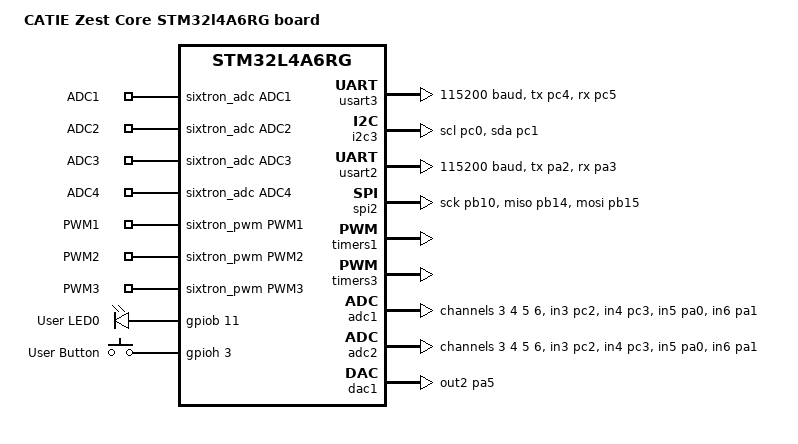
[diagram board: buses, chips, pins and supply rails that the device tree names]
/*
 * Copyright (c) 2023 CATIE
 *
 * SPDX-License-Identifier: Apache-2.0
 */

/dts-v1/;
#include <st/l4/stm32l4a6Xg.dtsi>
#include <st/l4/stm32l4a6rgtx-pinctrl.dtsi>
#include <zephyr/dt-bindings/input/input-event-codes.h>
#include "sixtron_connector.dtsi"

/ {
	model = "CATIE Zest Core STM32l4A6RG board";
	compatible = "catie,zest-core-stm32l4a6rg";

	chosen {
		zephyr,console = &usart3;
		zephyr,shell-uart = &usart3;
		zephyr,sram = &sram0;
		zephyr,flash = &flash0;
	};

	zephyr,user {
		pwms = <&sixtron_pwm PWM1 1000000 PWM_POLARITY_NORMAL>,
			   <&sixtron_pwm PWM2 1000000 PWM_POLARITY_NORMAL>,
			   <&sixtron_pwm PWM3 1000000 PWM_POLARITY_NORMAL>;
		pwm-names = "PWM1", "PWM2", "PWM3";

		io-channels = <&sixtron_adc ADC1>,
					  <&sixtron_adc ADC2>,
					  <&sixtron_adc ADC3>,
					  <&sixtron_adc ADC4>;
		io-channel-names = "ADC1", "ADC2", "ADC3", "ADC4";
	};

	leds {
		compatible = "gpio-leds";
		led_0: led_0 {
			gpios = <&gpiob 11 GPIO_ACTIVE_HIGH>;
			label = "User LED0";
		};
	};

	gpio_keys {
		compatible = "gpio-keys";
		user_button: button {
			label = "User Button";
			gpios = <&gpioh 3 GPIO_ACTIVE_HIGH>;
			zephyr,code = <INPUT_BTN_0>;
		};
	};

	aliases {
		led0 = &led_0;
		sw0 = &user_button;
	};
};

&clk_hsi {
	status = "okay";
};

&pll {
	div-m = <1>;
	mul-n = <10>;
	div-p = <7>;
	div-q = <2>;
	div-r = <2>;
	clocks = <&clk_hsi>;
	status = "okay";
};

&rcc {
	clocks = <&pll>;
	clock-frequency = <DT_FREQ_M(80)>;
	ahb-prescaler = <1>;
	apb1-prescaler = <1>;
	apb2-prescaler = <1>;
};

&usart3 {
	pinctrl-0 = <&usart3_tx_pc4 &usart3_rx_pc5>;
	pinctrl-names = "default";
	current-speed = <115200>;
	status = "okay";
};

&i2c3 {
	pinctrl-0 = <&i2c3_scl_pc0 &i2c3_sda_pc1>;
	pinctrl-names = "default";
	status = "okay";
};

&usart2 {
	pinctrl-0 = <&usart2_tx_pa2 &usart2_rx_pa3>;
	pinctrl-names = "default";
	current-speed = <115200>;
	status = "okay";
};

&spi2 {
	pinctrl-0 = <&spi2_sck_pb10 &spi2_miso_pb14 &spi2_mosi_pb15>;
	pinctrl-names = "default";
	cs-gpios = <&gpiob 2 GPIO_ACTIVE_LOW>;
	status = "okay";
};

&timers1 {
	st,prescaler = <1>;
	status = "okay";

	pwm1: pwm {
		pinctrl-0 = <&tim1_ch3_pa10 &tim1_ch2_pa9>;
		pinctrl-names = "default";
		status = "okay";
	};
};

&timers3 {
	st,prescaler = <1>;
	status = "okay";

	pwm3: pwm {
		pinctrl-0 = <&tim3_ch3_pb0 &tim3_ch4_pb1>;
		pinctrl-names = "default";
		status = "okay";
	};
};

&adc1 {
	pinctrl-0 = <&adc1_in3_pc2 &adc1_in4_pc3 &adc1_in5_pa0 &adc1_in6_pa1>;
	pinctrl-names = "default";
	st,adc-clock-source = "SYNC";
	st,adc-prescaler = <4>;
	status = "okay";

	#address-cells = <1>;
	#size-cells = <0>;

	channel@3 {
		reg = <3>;
		zephyr,gain = "ADC_GAIN_1";
		zephyr,reference = "ADC_REF_INTERNAL";
		zephyr,acquisition-time = <ADC_ACQ_TIME_DEFAULT>;
		zephyr,resolution = <12>;
	};

	channel@4 {
		reg = <4>;
		zephyr,gain = "ADC_GAIN_1";
		zephyr,reference = "ADC_REF_INTERNAL";
		zephyr,acquisition-time = <ADC_ACQ_TIME_DEFAULT>;
		zephyr,resolution = <12>;
	};

	channel@5 {
		reg = <5>;
		zephyr,gain = "ADC_GAIN_1";
		zephyr,reference = "ADC_REF_INTERNAL";
		zephyr,acquisition-time = <ADC_ACQ_TIME_DEFAULT>;
		zephyr,resolution = <12>;
	};

	channel@6 {
		reg = <6>;
		zephyr,gain = "ADC_GAIN_1";
		zephyr,reference = "ADC_REF_INTERNAL";
		zephyr,acquisition-time = <ADC_ACQ_TIME_DEFAULT>;
		zephyr,resolution = <12>;
	};
};

&adc2 {
	pinctrl-0 = <&adc2_in3_pc2 &adc2_in4_pc3 &adc2_in5_pa0 &adc2_in6_pa1>;
	pinctrl-names = "default";
	st,adc-clock-source = "SYNC";
	st,adc-prescaler = <4>;
	status = "okay";

	#address-cells = <1>;
	#size-cells = <0>;

	channel@3 {
		reg = <3>;
		zephyr,gain = "ADC_GAIN_1";
		zephyr,reference = "ADC_REF_INTERNAL";
		zephyr,acquisition-time = <ADC_ACQ_TIME_DEFAULT>;
		zephyr,resolution = <12>;
	};

	channel@4 {
		reg = <4>;
		zephyr,gain = "ADC_GAIN_1";
		zephyr,reference = "ADC_REF_INTERNAL";
		zephyr,acquisition-time = <ADC_ACQ_TIME_DEFAULT>;
		zephyr,resolution = <12>;
	};

	channel@5 {
		reg = <5>;
		zephyr,gain = "ADC_GAIN_1";
		zephyr,reference = "ADC_REF_INTERNAL";
		zephyr,acquisition-time = <ADC_ACQ_TIME_DEFAULT>;
		zephyr,resolution = <12>;
	};

	channel@6 {
		reg = <6>;
		zephyr,gain = "ADC_GAIN_1";
		zephyr,reference = "ADC_REF_INTERNAL";
		zephyr,acquisition-time = <ADC_ACQ_TIME_DEFAULT>;
		zephyr,resolution = <12>;
	};
};

&dac1 {
	pinctrl-0 = <&dac1_out2_pa5>;
	pinctrl-names = "default";
	status = "okay";
};
